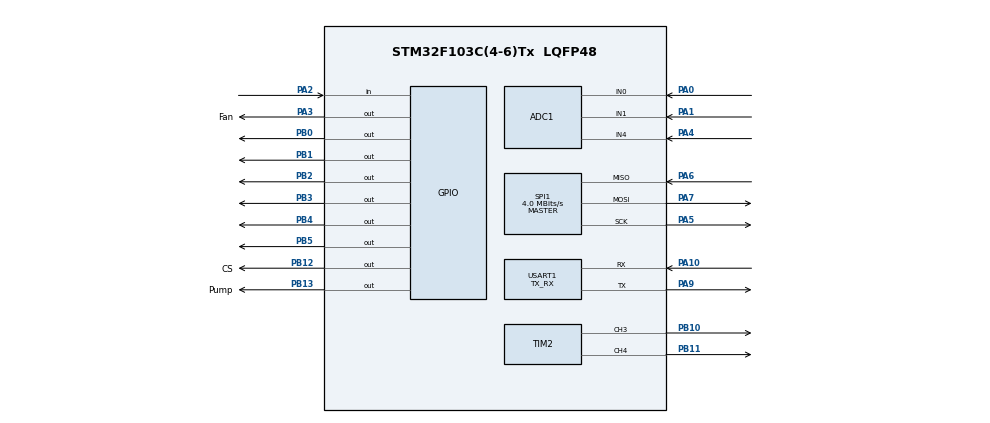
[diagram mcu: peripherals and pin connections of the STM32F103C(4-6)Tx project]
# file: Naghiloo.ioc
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ADC1.Channel-3\#ChannelRegularConversion=ADC_CHANNEL_1
ADC1.Channel-4\#ChannelRegularConversion=ADC_CHANNEL_4
ADC1.ContinuousConvMode=ENABLE
ADC1.DiscontinuousConvMode=DISABLE
ADC1.InjNumberOfConversion=2
ADC1.NbrOfConversion=3
ADC1.NbrOfConversionFlag=1
ADC1.Rank-3\#ChannelRegularConversion=2
ADC1.Rank-4\#ChannelRegularConversion=3
ADC1.SamplingTime-0\#ChannelRegularConversion=ADC_SAMPLETIME_239CYCLES_5
ADC1.SamplingTime-3\#ChannelRegularConversion=ADC_SAMPLETIME_239CYCLES_5
ADC1.SamplingTime-4\#ChannelRegularConversion=ADC_SAMPLETIME_239CYCLES_5
ADC1.master=1
Dma.ADC1.0.Direction=DMA_PERIPH_TO_MEMORY
Dma.ADC1.0.Instance=DMA1_Channel1
Dma.ADC1.0.MemDataAlignment=DMA_MDATAALIGN_WORD
Dma.ADC1.0.MemInc=DMA_MINC_ENABLE
Dma.ADC1.0.Mode=DMA_CIRCULAR
Dma.ADC1.0.PeriphDataAlignment=DMA_PDATAALIGN_WORD
Dma.ADC1.0.PeriphInc=DMA_PINC_DISABLE
Dma.ADC1.0.Priority=DMA_PRIORITY_LOW
Dma.Request0=ADC1
Mcu.Family=STM32F1
Mcu.Name=STM32F103C(4-6)Tx
Mcu.Package=LQFP48
NVIC.DMA1_Channel1_IRQn=true\:0\:0\:false\:false\:true\:false\:true\:true
NVIC.PriorityGroup=NVIC_PRIORITYGROUP_4
NVIC.TIM1_UP_IRQn=true\:0\:0\:false\:false\:true\:true\:true\:true
NVIC.USART1_IRQn=true\:0\:0\:false\:false\:true\:true\:true\:true
PA0-WKUP.Signal=ADCx_IN0
PA1.Signal=ADCx_IN1
PA10.Mode=Asynchronous
PA10.Signal=USART1_RX
PA2.GPIO_PuPd=GPIO_PULLDOWN
PA2.Signal=GPIO_Input
PA3.GPIO_Label=Fan
PA3.Signal=GPIO_Output
PA4.Signal=ADCx_IN4
PA5.Mode=Full_Duplex_Master
PA5.Signal=SPI1_SCK
PA6.Mode=Full_Duplex_Master
PA6.Signal=SPI1_MISO
PA7.Mode=Full_Duplex_Master
PA7.Signal=SPI1_MOSI
PA9.Mode=Asynchronous
PA9.Signal=USART1_TX
PB0.Signal=GPIO_Output
PB1.Signal=GPIO_Output
PB10.Signal=S_TIM2_CH3
PB11.Signal=S_TIM2_CH4
PB12.GPIO_Label=CS
PB12.Signal=GPIO_Output
PB13.GPIO_Label=Pump
PB13.Signal=GPIO_Output
PB2.Signal=GPIO_Output
PB3.Signal=GPIO_Output
PB4.Signal=GPIO_Output
PB5.Signal=GPIO_Output
PC14-OSC32_IN.Mode=LSE-External-Oscillator
PC14-OSC32_IN.Signal=RCC_OSC32_IN
PC15-OSC32_OUT.Mode=LSE-External-Oscillator
PC15-OSC32_OUT.Signal=RCC_OSC32_OUT
PD0-OSC_IN.Mode=HSE-External-Oscillator
PD0-OSC_IN.Signal=RCC_OSC_IN
PD1-OSC_OUT.Mode=HSE-External-Oscillator
PD1-OSC_OUT.Signal=RCC_OSC_OUT
ProjectManager.HeapSize=0x200
ProjectManager.StackSize=0x400
ProjectManager.TargetToolchain=EWARM V8.32
RCC.APB1Freq_Value=8000000
RCC.APB2Freq_Value=8000000
RCC.EnbaleCSS=true
RCC.RTCClockSelection=RCC_RTCCLKSOURCE_LSE
RCC.SYSCLKSource=RCC_SYSCLKSOURCE_HSE
RTC.AutoPrediv=RTC_AUTO_1_SECOND
RTC.Date=27
RTC.Format=RTC_FORMAT_BIN
RTC.Hours=8
RTC.Minutes=8
RTC.Month=RTC_MONTH_JANUARY
RTC.Seconds=59
RTC.WeekDay=RTC_WEEKDAY_MONDAY
RTC.Year=25
SH.ADCx_IN0.0=ADC1_IN0,IN0
SH.ADCx_IN1.0=ADC1_IN1,IN1
SH.ADCx_IN4.0=ADC1_IN4,IN4
SH.S_TIM2_CH3.0=TIM2_CH3,PWM Generation3 CH3
SH.S_TIM2_CH4.0=TIM2_CH4,PWM Generation4 CH4
SPI1.CalculateBaudRate=4.0 MBits/s
SPI1.Direction=SPI_DIRECTION_2LINES
SPI1.Mode=SPI_MODE_MASTER
SPI1.VirtualType=VM_MASTER
TIM1.AutoReloadPreload=TIM_AUTORELOAD_PRELOAD_ENABLE
TIM1.Period=1059
TIM1.Prescaler=7999
TIM2.AutoReloadPreload=TIM_AUTORELOAD_PRELOAD_ENABLE
TIM2.Channel-PWM\ Generation3\ CH3=TIM_CHANNEL_3
TIM2.Channel-PWM\ Generation4\ CH4=TIM_CHANNEL_4
USART1.Mode=MODE_TX_RX
USART1.VirtualMode=VM_ASYNC
VP_RTC_VS_RTC_Activate.Mode=RTC_Enabled
VP_RTC_VS_RTC_Calendar.Mode=RTC_Calendar
VP_SYS_VS_ND.Mode=No_Debug
VP_TIM1_VS_ClockSourceINT.Mode=Internal
VP_TIM2_VS_ClockSourceINT.Mode=Internal
board=custom

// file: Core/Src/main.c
/* USER CODE BEGIN Header */
/**
  ******************************************************************************
  * @file           : main.c
  * @brief          : Main program body
  ******************************************************************************
  * @attention
  *
  * Copyright (c) 2025 STMicroelectronics.
  * All rights reserved.
  *
  * This software is licensed under terms that can be found in the LICENSE file
  * in the root directory of this software component.
  * If no LICENSE file comes with this software, it is provided AS-IS.
  *
  ******************************************************************************
  */
/* USER CODE END Header */
#include "main.h"
#include "adc.h"
#include "dma.h"
#include "rtc.h"
#include "spi.h"
#include "tim.h"
#include "usart.h"
#include "gpio.h"

/* USER CODE BEGIN Includes */
#include "lcd2004.h"
#include "25LC512.h"
/* USER CODE END Includes */

/* USER CODE BEGIN PTD */
typedef struct {
    EEPROM_HandleTypeDef E2PROM;
    Lcd_HandleTypeDef hlcd1;
    RTC_TimeTypeDef theTime;
    RTC_DateTypeDef theDate;
    float Temp;
    float Light;
    float Moisture;
    uint8_t DoorStatus;
} SensorDataType;
typedef struct {
    uint8_t light;
    uint8_t moisture;
    uint8_t temp;
} CurrentDangerType;
typedef struct {
    uint8_t light;
    uint8_t moisture;
    uint8_t temp;
} PreviousDangerType;
/* USER CODE END PTD */

/* USER CODE BEGIN PM */
#define HAL_stuffs() HAL_TIM_Base_Start_IT(&htim1);                               \
                     HAL_ADC_Start_DMA(&hadc1, AChannels, sizeof(AChannels));     \
                     HAL_TIM_PWM_Start(&htim2, Heater_CH);                        \
                     HAL_TIM_PWM_Start(&htim2, Curtain_CH);                       \
                     HAL_RTC_GetTime(&hrtc, &SensorData.theTime, RTC_FORMAT_BIN); \
                     HAL_RTC_GetDate(&hrtc, &SensorData.theDate, RTC_FORMAT_BIN)

#define LCD_Init() Lcd_PortType D_ports[] = {portD4 , portD5, portD6, portD7};                                \
                   Lcd_PinType D_pins[] = {pinD4 , pinD5, pinD6, pinD7};                                      \
                   SensorData.hlcd1 = Lcd_create(D_ports, D_pins, portRS, pinRS, portE, pinE, LCD_4_BIT_MODE)

#define E2PROM_Init() EEPROM_Init(&SensorData.E2PROM, &hspi1, CS_GPIO_Port, CS_Pin)

#define EEPROM_Write(writeAddress, data) EEPROM_Write(&SensorData.E2PROM, writeAddress, (uint8_t *)data, strlen(data));

#define LCD(row, column, text) Lcd_cursor(&SensorData.hlcd1, row, column);\
                               Lcd_string(&SensorData.hlcd1, text)

#define ADCtoPercentage(Channel) (float)Channel * (100.0 / 4095.0)

#define ADCtoCentigrad(Channel) ((float)Channel * (5.0 / 4095.0) / 0.01) - tune_offset

#define FanControler(temp, m, M) (temp >= m)                                                        \
                                    ? HAL_GPIO_WritePin(Fan_GPIO_Port, Fan_Pin, GPIO_PIN_SET)       \
                                    : ((temp <= M)                                                  \
                                        ? HAL_GPIO_WritePin(Fan_GPIO_Port, Fan_Pin, GPIO_PIN_RESET) \
                                        : __NOP())                                                  \

#define  PumpControler(moisture, m, M) (moisture <= M)                                                      \
                                          ? HAL_GPIO_WritePin(Pump_GPIO_Port, Pump_Pin, GPIO_PIN_SET)       \
                                          : ((moisture >= m)                                                \
                                              ? HAL_GPIO_WritePin(Pump_GPIO_Port, Pump_Pin, GPIO_PIN_RESET) \
                                              : __NOP())

#define PWMCurtain(light, m, M) pwm_value = (uint32_t)((light <= M)                     \
                                                      ? ((M - light) * 0.01 * 65535)    \
                                                      : ((light >= m)                   \
                                                          ? 0                           \
                                                          : (10.0 * 65535.0) * 0.01));  \
                                __HAL_TIM_SET_COMPARE(&htim2, Curtain_CH, pwm_value)

#define PWMHeater(temp, m, M) pwm_value = (uint32_t)((temp < M)                              \
                                                      ? ((M - temp) * 10.0 * 0.01 * 65535.0) \
                                                      : ((temp >= m)                         \
                                                          ? 0                                \
                                                          : (5.0 * 65535.0) * 0.01));        \
                              __HAL_TIM_SET_COMPARE(&htim2, Heater_CH, pwm_value)

#define GSM_Init() HAL_UART_Transmit(&huart1, "> AT\r\n", strlen("> AT\r\n"), 1000);               \
                   uint8_t condition;                                                              \
                   do {                                                                            \
                        condition = HAL_UART_Receive(&huart1, OK, sizeof(OK), 1000);               \
                      } while (condition);                                                         \
                   HAL_UART_Transmit(&huart1, "OK\r\n", strlen("OK\r\n"), 1000);               \
                   HAL_UART_Transmit(&huart1, "> AT+CMGF=1\r\n" , strlen("> AT+CMGF=1\r\n" ), 1000)

#define GSM_Send_Message(text, number) sprintf((char *)Message, "> AT+CMGS=%s\r\n> %s\r\n> Ctrl+Z\r\n", number, text); \
                                       HAL_UART_Transmit(&huart1, Message, strlen((char const *)Message), 1000)
/* USER CODE END PM */

/* USER CODE BEGIN PV */
SensorDataType SensorData;

char* months[] = {"Jan", "Feb", "Mar", "Apr", "May", "Jun",
                  "Jul", "Aug", "Sep", "Oct", "Nov", "Dec"};

char* days[] = {"Sun", "Mon", "Tue", "Wed", "Thu", "Fri", "Sat"};

int hours[] = {12, 1, 2, 3, 4, 5, 6, 7, 8, 9, 10, 11};

char* meridiem[] = {"AM", "PM"};

char printer0 [21];
char printer1 [100];

uint32_t AChannels[3];

uint32_t pwm_value;

uint16_t last_adr = 0;

static PreviousDangerType previousDanger = {0, 0, 0};
static CurrentDangerType currentDanger = {0, 0, 0};

uint8_t OK[] = {"OK\r\n"};
uint8_t Message[] = {"> AT+CMGS=%s\r\n> %s\r\n> Ctrl+Z\r\n"};

uint32_t doorOpenTime = 0;
uint8_t doorWasOpen = 0;

enum {yes, no} write;
/* USER CODE END PV */

void SystemClock_Config(void);

/* USER CODE BEGIN 0 */
void HAL_TIM_PeriodElapsedCallback(TIM_HandleTypeDef *htim)
{
  if (htim->Instance == TIM1)
  {
    HAL_RTC_GetTime(&hrtc, &SensorData.theTime, RTC_FORMAT_BIN);
    HAL_RTC_GetDate(&hrtc, &SensorData.theDate, RTC_FORMAT_BIN);

    sprintf(printer1, "{@(%2d:%2d)->Light(%%):%5.1f&Mois(%%):%5.1f&Temp('C):%5.1f&Door:%1d}  ",SensorData.theTime.Hours,
                                                                                           SensorData.theTime.Minutes,
                                                                                           SensorData.Light,
                                                                                           SensorData.Moisture,
                                                                                           SensorData.Temp,
                                                                                           SensorData.DoorStatus);

    write = yes;
  }
}

/* USER CODE END 0 */

int main(void)
{

  /* MCU Configuration--------------------------------------------------------*/

  /* Reset of all peripherals, Initializes the Flash interface and the Systick. */
  HAL_Init();

  /* Configure the system clock */
  SystemClock_Config();

  /* Initialize all configured peripherals */
  MX_GPIO_Init();
  MX_DMA_Init();
  MX_ADC1_Init();
  MX_USART1_UART_Init();
  MX_RTC_Init();
  MX_TIM1_Init();
  MX_TIM2_Init();
  MX_SPI1_Init();
  /* USER CODE BEGIN 2 */
  HAL_stuffs();
  LCD_Init();
  GSM_Init();
  /* USER CODE END 2 */

  /* Infinite loop */
  /* USER CODE BEGIN WHILE */
  while (1)
  {
    E2PROM_Init();

    sprintf(printer0 ,"%d:%02d %s\0  %s,%s %d", hours[SensorData.theTime.Hours % 12],
    /* \0 is intentional to truncate for LCD */ SensorData.theTime.Minutes,
                                                meridiem[SensorData.theTime.Hours / 12],
                                                days[SensorData.theDate.WeekDay],
                                                months[SensorData.theDate.Month-1],
                                                SensorData.theDate.Date);
    LCD(0, 0, printer0);
    SensorData.DoorStatus = (HAL_GPIO_ReadPin(Door_Port, Door_Pin) == GPIO_PIN_SET);
    LCD(0, 15, SensorData.DoorStatus ? " Open": "Close");
    if (SensorData.DoorStatus && !doorWasOpen)
    {
        doorOpenTime = SensorData.theTime.Seconds;
        doorWasOpen = 1;
    }
    if (SensorData.DoorStatus)
    {
        uint32_t elapsed = (SensorData.theTime.Seconds >= doorOpenTime) ?
                           (SensorData.theTime.Seconds - doorOpenTime) :
                           (60 - doorOpenTime +SensorData.theTime.Seconds);

        if (elapsed > 5)
        {
            GSM_Send_Message("Warning: The door is open for more than 5 seconds!", "+9812345678912");
            doorOpenTime = SensorData.theTime.Seconds + 5;
        }
    }
    else
    {
        doorWasOpen = 0;
    }

    SensorData.Light = ADCtoPercentage(AChannels[0]);
    sprintf(printer0, "Light(%%): %-4.1f", SensorData.Light);
    LCD(1, 0, printer0);
    currentDanger.light = (SensorData.Light <= 5.0 || SensorData.Light >= 60.0);
    if (currentDanger.light != previousDanger.light)
    {
      if (currentDanger.light)
      {
        GSM_Send_Message("Danger zone for Light!", "+9812345678912");
      }
      previousDanger.light = currentDanger.light;
    }

    SensorData.Moisture = ADCtoPercentage(AChannels[1]);
    sprintf(printer0, "Moisture(%%): %-4.1f", SensorData.Moisture);
    LCD(2, 0, printer0);
    currentDanger.moisture = (SensorData.Moisture <= 15.0 || SensorData.Moisture >= 90.0);
    if (currentDanger.moisture != previousDanger.moisture)
    {
      if (currentDanger.moisture)
      {
        GSM_Send_Message("Danger zone for Moisture!", "+9812345678912");
      }
      previousDanger.moisture = currentDanger.moisture;
    }

    SensorData.Temp = ADCtoCentigrad(AChannels[2]);
    sprintf(printer0, "Temp('C): %-4.1f", SensorData.Temp);
    LCD(3, 0, printer0);
    currentDanger.temp = (SensorData.Temp <= 15.0 || SensorData.Temp  >= 40.0);
    if (currentDanger.temp != previousDanger.temp)
    {
      if (currentDanger.temp)
      {
        GSM_Send_Message("Danger zone for Temp!", "+9812345678912");
      }
      previousDanger.temp = currentDanger.temp;
    }

    FanControler(SensorData.Temp, FanOn, FanOff);

    PumpControler(SensorData.Moisture, PumpOff, PumpOn);

    PWMCurtain(SensorData.Light, 50.0, 10.0);

    PWMHeater(SensorData.Temp, 25.0, 20.0);

    if (write == yes)
    {
      write = no;
      EEPROM_Write(E2PROM_writeAddress+last_adr, printer1);
      last_adr += strlen(printer1);
    }

    /* USER CODE END WHILE */

  }
}

void SystemClock_Config(void)
{
  RCC_OscInitTypeDef RCC_OscInitStruct = {0};
  RCC_ClkInitTypeDef RCC_ClkInitStruct = {0};
  RCC_PeriphCLKInitTypeDef PeriphClkInit = {0};

  /** Initializes the RCC Oscillators according to the specified parameters
  * in the RCC_OscInitTypeDef structure.
  */
  RCC_OscInitStruct.OscillatorType = RCC_OSCILLATORTYPE_HSE|RCC_OSCILLATORTYPE_LSE;
  RCC_OscInitStruct.HSEState = RCC_HSE_ON;
  RCC_OscInitStruct.LSEState = RCC_LSE_ON;
  RCC_OscInitStruct.PLL.PLLState = RCC_PLL_NONE;
  if (HAL_RCC_OscConfig(&RCC_OscInitStruct) != HAL_OK)
  {
    Error_Handler();
  }

  /** Initializes the CPU, AHB and APB buses clocks
  */
  RCC_ClkInitStruct.ClockType = RCC_CLOCKTYPE_HCLK|RCC_CLOCKTYPE_SYSCLK
                              |RCC_CLOCKTYPE_PCLK1|RCC_CLOCKTYPE_PCLK2;
  RCC_ClkInitStruct.SYSCLKSource = RCC_SYSCLKSOURCE_HSE;
  RCC_ClkInitStruct.AHBCLKDivider = RCC_SYSCLK_DIV1;
  RCC_ClkInitStruct.APB1CLKDivider = RCC_HCLK_DIV1;
  RCC_ClkInitStruct.APB2CLKDivider = RCC_HCLK_DIV1;

  if (HAL_RCC_ClockConfig(&RCC_ClkInitStruct, FLASH_LATENCY_0) != HAL_OK)
  {
    Error_Handler();
  }
  PeriphClkInit.PeriphClockSelection = RCC_PERIPHCLK_RTC|RCC_PERIPHCLK_ADC;
  PeriphClkInit.RTCClockSelection = RCC_RTCCLKSOURCE_LSE;
  PeriphClkInit.AdcClockSelection = RCC_ADCPCLK2_DIV2;
  if (HAL_RCCEx_PeriphCLKConfig(&PeriphClkInit) != HAL_OK)
  {
    Error_Handler();
  }

  /** Enables the Clock Security System
  */
  HAL_RCC_EnableCSS();
}

void Error_Handler(void)
{
  __disable_irq();
  while (1)
  {
  }
}
